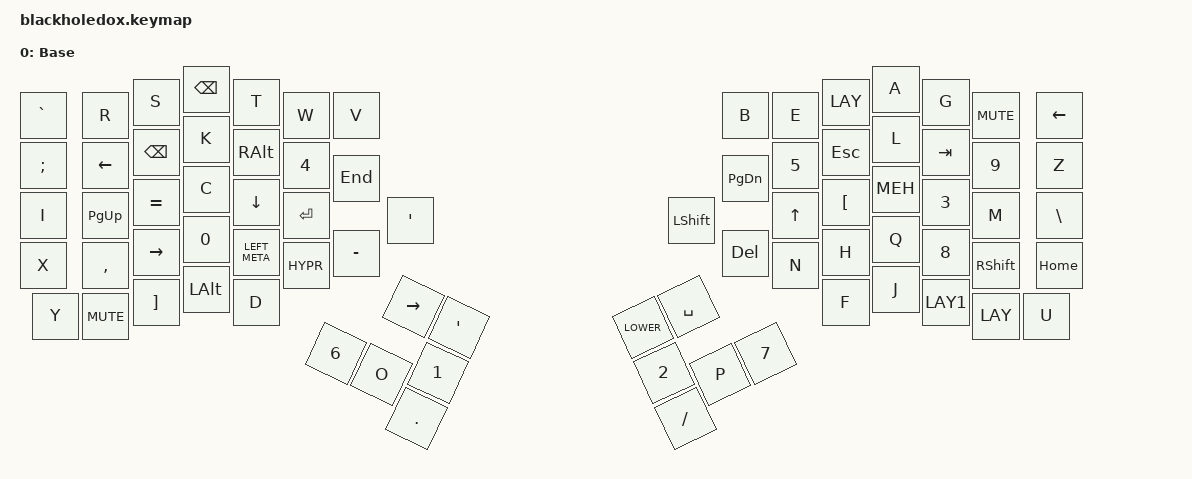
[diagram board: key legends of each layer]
// This file was generated from a template. Edit it to match your keyboard.
// See https://zmk.dev/docs/development/hardware-integration/new-shield for more instructions.

#include <behaviors.dtsi>
#include <dt-bindings/zmk/keys.h>
#include <dt-bindings/zmk/bt.h>
#include <dt-bindings/zmk/ext_power.h>
#include <dt-bindings/zmk/outputs.h>

/ {
    // Define a default keymap here.
    // See https://zmk.dev/docs/development/hardware-integration/new-shield#default-keymap.
    keymap {
        compatible = "zmk,keymap";

        default_layer {
            display-name = "Base";

// ------------------------------------------------------------------------------------------------
// |  =   | 1 |   2   | 3 | 4 |  5  |     | --------------- |     |  6  | 7 | 8 | 9 | 0 |   -   |
// | DEL  | Q |   W   | E | R |  T  | LAY1 | MUTE | - | MUTE | LAY1 |  Y  | U | I | O | P |   \   |
// | BSPC | A |   S   | D | F |  G  | ALT  | WIN  | - | ALT  | ESC  |  H  | J | K | L | ; |   '   |
// | SHFT | Z |   X   | C | V |  B  | MEH  | HOME | - | PGUP | HYPR |  N  | M | , | . | / |  SHFT |
// |  `   | ' | LOWER |  |  | SPC | BSPC | END  | - | PGDN | TAB  | ENT |  |  | [ | ] |  LAY1 |
// ------------------------------------------------------------------------------------------------

            bindings = <
                &kp EQUAL &kp N1 &kp N2 &kp N3 &kp N4 &kp N5 &kp LEFT_ARROW &kp RIGHT_ARROW &kp N6 &kp N7 &kp N8 &kp N9 &kp N0 &kp MINUS
                &kp DEL &kp Q &kp W &kp E &kp R &kp T &kp LAY &kp C_MUTE &kp C_MUTE &kp LAY &kp Y &kp U &kp I &kp O &kp P &kp BACKSLASH
                &kp BACKSPACE &kp A &kp S &kp D &kp F &kp G &kp LEFT_ALT &kp LEFT_META &kp RIGHT_ALT &kp ESC &kp H &kp J &kp K &kp L &kp SEMICOLON &kp APOSTROPHE
                &kp LEFT_SHIFT &kp Z &kp X &kp C &kp V &kp B &kp MEH &kp HOME &kp PAGE_UP &kp HYPR &kp N &kp M &kp COMMA &kp PERIOD &kp SLASH &kp RIGHT_SHIFT
                &kp GRAVE &kp APOSTROPHE &kp LOWER &kp LEFT_ARROW &kp RIGHT_ARROW &kp SPACE &kp BACKSPACE &kp END &kp PAGE_DOWN &kp TAB &kp ENTER &kp UP_ARROW &kp DOWN_ARROW &kp LEFT_BRACKET &kp RIGHT_BRACKET &kp LAY1
            >;
        };
    };
};
